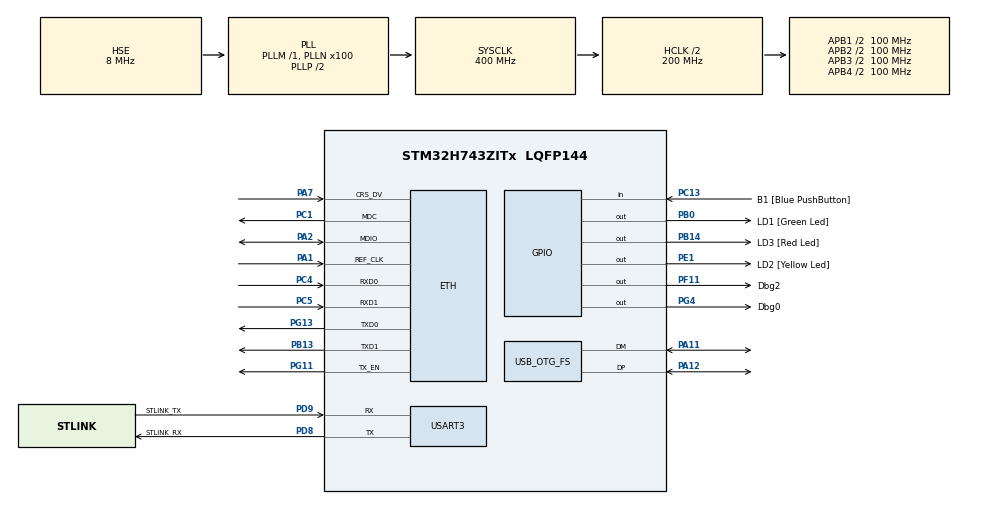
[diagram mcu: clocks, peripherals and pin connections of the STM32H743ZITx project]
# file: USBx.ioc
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ETH.MediaInterface=HAL_ETH_RMII_MODE
Mcu.Family=STM32H7
Mcu.Name=STM32H743ZITx
Mcu.Package=LQFP144
NVIC.OTG_FS_IRQn=true\:0\:0\:false\:false\:true\:false\:true\:true
NVIC.PriorityGroup=NVIC_PRIORITYGROUP_4
PA1.Mode=RMII
PA1.Signal=ETH_REF_CLK
PA11.Mode=Device_Only
PA11.Signal=USB_OTG_FS_DM
PA12.Mode=Device_Only
PA12.Signal=USB_OTG_FS_DP
PA13\ (JTMS/SWDIO).Mode=Serial_Wire
PA13\ (JTMS/SWDIO).Signal=DEBUG_JTMS-SWDIO
PA14\ (JTCK/SWCLK).Mode=Serial_Wire
PA14\ (JTCK/SWCLK).Signal=DEBUG_JTCK-SWCLK
PA2.Mode=RMII
PA2.Signal=ETH_MDIO
PA7.Mode=RMII
PA7.Signal=ETH_CRS_DV
PB0.GPIO_Label=LD1 [Green Led]
PB0.Signal=GPIO_Output
PB13.Mode=RMII
PB13.Signal=ETH_TXD1
PB14.GPIO_Label=LD3 [Red Led]
PB14.Signal=GPIO_Output
PC1.Mode=RMII
PC1.Signal=ETH_MDC
PC13.GPIO_Label=B1 [Blue PushButton]
PC13.Signal=GPIO_Input
PC14-OSC32_IN\ (OSC32_IN).Mode=LSE-External-Oscillator
PC14-OSC32_IN\ (OSC32_IN).Signal=RCC_OSC32_IN
PC15-OSC32_OUT\ (OSC32_OUT).Mode=LSE-External-Oscillator
PC15-OSC32_OUT\ (OSC32_OUT).Signal=RCC_OSC32_OUT
PC4.Mode=RMII
PC4.Signal=ETH_RXD0
PC5.Mode=RMII
PC5.Signal=ETH_RXD1
PD8.GPIO_Label=STLINK_RX
PD8.Mode=Asynchronous
PD8.Signal=USART3_TX
PD9.GPIO_Label=STLINK_TX
PD9.Mode=Asynchronous
PD9.Signal=USART3_RX
PE1.GPIO_Label=LD2 [Yellow Led]
PE1.Signal=GPIO_Output
PF11.GPIO_Label=Dbg2
PF11.GPIO_Speed=GPIO_SPEED_FREQ_HIGH
PF11.Signal=GPIO_Output
PG11.Mode=RMII
PG11.Signal=ETH_TX_EN
PG13.Mode=RMII
PG13.Signal=ETH_TXD0
PG4.GPIO_Label=Dbg0
PG4.GPIO_Speed=GPIO_SPEED_FREQ_HIGH
PG4.Signal=GPIO_Output
PH0-OSC_IN\ (PH0).Mode=HSE-External-Clock-Source
PH0-OSC_IN\ (PH0).Signal=RCC_OSC_IN
PH1-OSC_OUT\ (PH1).Signal=RCC_OSC_OUT
ProjectManager.HeapSize=0x200
ProjectManager.StackSize=0x400
ProjectManager.TargetToolchain=STM32CubeIDE
RCC.ADCFreq_Value=16125000
RCC.APB1Freq_Value=100000000
RCC.APB2Freq_Value=100000000
RCC.APB3Freq_Value=100000000
RCC.APB4Freq_Value=100000000
RCC.CortexFreq_Value=400000000
RCC.D1PPRE=RCC_APB3_DIV2
RCC.D2PPRE1=RCC_APB1_DIV2
RCC.D2PPRE2=RCC_APB2_DIV2
RCC.D3PPRE=RCC_APB4_DIV2
RCC.DIVM1=1
RCC.DIVM3=1
RCC.DIVN1=100
RCC.DIVN3=24
RCC.DIVQ1=8
RCC.DIVQ3=4
RCC.DIVR1=8
RCC.HCLKFreq_Value=200000000
RCC.HPRE=RCC_HCLK_DIV2
RCC.HSE_VALUE=8000000
RCC.PLL1_VCO_SEL=RCC_PLL1VCOWIDE
RCC.PLLFRACN=0
RCC.PWR_Regulator_Voltage_Scale=PWR_REGULATOR_VOLTAGE_SCALE0
RCC.ProductRev=revV
RCC.SYSCLKFreq_VALUE=400000000
RCC.SYSCLKSource=RCC_SYSCLKSOURCE_PLLCLK
RCC.USBCLockSelection=RCC_USBCLKSOURCE_PLL3
RCC.USBFreq_Value=48000000
USART3.VirtualMode-Asynchronous=VM_ASYNC
USB_DEVICE.CLASS_NAME_FS=CDC
USB_DEVICE.VirtualMode-CDC_FS=Cdc
USB_DEVICE.VirtualModeFS=Cdc_FS
USB_OTG_FS.VirtualMode=Device_Only
VP_USB_DEVICE_VS_USB_DEVICE_CDC_FS.Mode=CDC_FS
board=NUCLEO-H743ZI2

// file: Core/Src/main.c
/* USER CODE BEGIN Header */
/**
  ******************************************************************************
  * @file           : main.c
  * @brief          : Main program body
  ******************************************************************************
  * @attention
  *
  * Copyright (c) 2023 STMicroelectronics.
  * All rights reserved.
  *
  * This software is licensed under terms that can be found in the LICENSE file
  * in the root directory of this software component.
  * If no LICENSE file comes with this software, it is provided AS-IS.
  *
  ******************************************************************************
  */
#include "stm32h7xx_hal_def.h"
#if 0
/* USER CODE END Header */
#include "main.h"
#include "usart.h"
#include "usb_device.h"
#include "gpio.h"

/* USER CODE BEGIN Includes */
#endif

#include "main.h"

/* USER CODE END Includes */

void SystemClock_Config(void);
/* USER CODE BEGIN PFP */
void usbClock_Config(void);
/* USER CODE END PFP */

/* USER CODE BEGIN 0 */

extern void tinyMain(void);

/* USER CODE END 0 */

int main(void)
{

  /* MCU Configuration--------------------------------------------------------*/

  /* Reset of all peripherals, Initializes the Flash interface and the Systick. */
  HAL_Init();

  /* USER CODE BEGIN Init */
#if CUBE_INIT_CLK == 0
 tinyMain();
#else

  /* USER CODE END Init */

  /* Configure the system clock */
  SystemClock_Config();

  /* USER CODE BEGIN SysInit */
 usbClock_Config();

 tinyMain();
#endif
#if 0
  /* USER CODE END SysInit */

  /* Initialize all configured peripherals */
  MX_GPIO_Init();
  MX_USART3_UART_Init();
  MX_USB_DEVICE_Init();

  /* Infinite loop */
 while (1)
 {

    /* USER CODE BEGIN 3 */
 }
#endif
  /* USER CODE END 3 */
}

void SystemClock_Config(void)
{
  RCC_OscInitTypeDef RCC_OscInitStruct = {0};
  RCC_ClkInitTypeDef RCC_ClkInitStruct = {0};

  /** Supply configuration update enable
  */
  HAL_PWREx_ConfigSupply(PWR_LDO_SUPPLY);

  /** Configure the main internal regulator output voltage
  */
  __HAL_PWR_VOLTAGESCALING_CONFIG(PWR_REGULATOR_VOLTAGE_SCALE1);

  while(!__HAL_PWR_GET_FLAG(PWR_FLAG_VOSRDY)) {}

  __HAL_RCC_SYSCFG_CLK_ENABLE();
  __HAL_PWR_VOLTAGESCALING_CONFIG(PWR_REGULATOR_VOLTAGE_SCALE0);

  while(!__HAL_PWR_GET_FLAG(PWR_FLAG_VOSRDY)) {}

  /** Initializes the RCC Oscillators according to the specified parameters
  * in the RCC_OscInitTypeDef structure.
  */
  RCC_OscInitStruct.OscillatorType = RCC_OSCILLATORTYPE_HSE;
  RCC_OscInitStruct.HSEState = RCC_HSE_BYPASS;
  RCC_OscInitStruct.PLL.PLLState = RCC_PLL_ON;
  RCC_OscInitStruct.PLL.PLLSource = RCC_PLLSOURCE_HSE;
  RCC_OscInitStruct.PLL.PLLM = 1;
  RCC_OscInitStruct.PLL.PLLN = 100;
  RCC_OscInitStruct.PLL.PLLP = 2;
  RCC_OscInitStruct.PLL.PLLQ = 8;
  RCC_OscInitStruct.PLL.PLLR = 8;
  RCC_OscInitStruct.PLL.PLLRGE = RCC_PLL1VCIRANGE_3;
  RCC_OscInitStruct.PLL.PLLVCOSEL = RCC_PLL1VCOWIDE;
  RCC_OscInitStruct.PLL.PLLFRACN = 0;
  if (HAL_RCC_OscConfig(&RCC_OscInitStruct) != HAL_OK)
  {
    Error_Handler();
  }

  /** Initializes the CPU, AHB and APB buses clocks
  */
  RCC_ClkInitStruct.ClockType = RCC_CLOCKTYPE_HCLK|RCC_CLOCKTYPE_SYSCLK
                              |RCC_CLOCKTYPE_PCLK1|RCC_CLOCKTYPE_PCLK2
                              |RCC_CLOCKTYPE_D3PCLK1|RCC_CLOCKTYPE_D1PCLK1;
  RCC_ClkInitStruct.SYSCLKSource = RCC_SYSCLKSOURCE_PLLCLK;
  RCC_ClkInitStruct.SYSCLKDivider = RCC_SYSCLK_DIV1;
  RCC_ClkInitStruct.AHBCLKDivider = RCC_HCLK_DIV2;
  RCC_ClkInitStruct.APB3CLKDivider = RCC_APB3_DIV2;
  RCC_ClkInitStruct.APB1CLKDivider = RCC_APB1_DIV2;
  RCC_ClkInitStruct.APB2CLKDivider = RCC_APB2_DIV2;
  RCC_ClkInitStruct.APB4CLKDivider = RCC_APB4_DIV2;

  if (HAL_RCC_ClockConfig(&RCC_ClkInitStruct, FLASH_LATENCY_2) != HAL_OK)
  {
    Error_Handler();
  }
}

/* USER CODE BEGIN 4 */

void usbClock_Config(void)
{
 RCC_PeriphCLKInitTypeDef PeriphClkInitStruct = {0};

 PeriphClkInitStruct.PeriphClockSelection = RCC_PERIPHCLK_USB;
 PeriphClkInitStruct.PLL3.PLL3M = 1;
 PeriphClkInitStruct.PLL3.PLL3N = 24;
 PeriphClkInitStruct.PLL3.PLL3P = 2;
 PeriphClkInitStruct.PLL3.PLL3Q = 4;
 PeriphClkInitStruct.PLL3.PLL3R = 2;
 PeriphClkInitStruct.PLL3.PLL3RGE = RCC_PLL3VCIRANGE_3;
 PeriphClkInitStruct.PLL3.PLL3FRACN = 0;
 PeriphClkInitStruct.UsbClockSelection = RCC_USBCLKSOURCE_PLL3;

 if (HAL_RCCEx_PeriphCLKConfig(&PeriphClkInitStruct) != HAL_OK) {
  Error_Handler();
 }
}

//--------------------------------------------------------------------+
// RCC Clock
//--------------------------------------------------------------------+

void board_stm32h7_clock_init(void)
{
 RCC_ClkInitTypeDef RCC_ClkInitStruct = { 0 };
 RCC_OscInitTypeDef RCC_OscInitStruct = { 0 };

 /* The PWR block is always enabled on the H7 series- there is no clock
    enable. For now, use the default VOS3 scale mode (lowest) and limit clock
    frequencies to avoid potential current draw problems from bus
    power when using the max clock speeds throughout the chip. */

 /* Enable HSE Oscillator and activate PLL1 with HSE as source */
 RCC_OscInitStruct.OscillatorType = RCC_OSCILLATORTYPE_HSE;
 RCC_OscInitStruct.HSEState = RCC_HSE_BYPASS;
//  RCC_OscInitStruct.HSEState = RCC_HSE_ON;
//  RCC_OscInitStruct.HSIState = RCC_HSI_OFF;
//  RCC_OscInitStruct.CSIState = RCC_CSI_OFF;
 RCC_OscInitStruct.PLL.PLLState = RCC_PLL_ON;
 RCC_OscInitStruct.PLL.PLLSource = RCC_PLLSOURCE_HSE;
 RCC_OscInitStruct.PLL.PLLM = HSE_VALUE/1000000;
 RCC_OscInitStruct.PLL.PLLN = 336;
 RCC_OscInitStruct.PLL.PLLP = 2;
 RCC_OscInitStruct.PLL.PLLQ = 7;
 RCC_OscInitStruct.PLL.PLLR = 2; /* Unused */
 RCC_OscInitStruct.PLL.PLLRGE = RCC_PLL1VCIRANGE_0;
 RCC_OscInitStruct.PLL.PLLVCOSEL = RCC_PLL1VCOMEDIUM;
 RCC_OscInitStruct.PLL.PLLFRACN = 0;
 HAL_RCC_OscConfig(&RCC_OscInitStruct);

 RCC_ClkInitStruct.ClockType = (RCC_CLOCKTYPE_SYSCLK | RCC_CLOCKTYPE_HCLK | \
    RCC_CLOCKTYPE_D1PCLK1 | RCC_CLOCKTYPE_PCLK1 | RCC_CLOCKTYPE_PCLK2 | \
    RCC_CLOCKTYPE_D3PCLK1);
 RCC_ClkInitStruct.SYSCLKSource = RCC_SYSCLKSOURCE_PLLCLK;
 RCC_ClkInitStruct.SYSCLKDivider = RCC_SYSCLK_DIV1;
 RCC_ClkInitStruct.AHBCLKDivider = RCC_HCLK_DIV2;

 /* Unlike on the STM32F4 family, it appears the maximum APB frequencies are
    device-dependent- 120 MHz for this board according to Figure 2 of
    the datasheet. Dividing by half will be safe for now. */
 RCC_ClkInitStruct.APB3CLKDivider = RCC_APB3_DIV2;
 RCC_ClkInitStruct.APB1CLKDivider = RCC_APB1_DIV2;
 RCC_ClkInitStruct.APB2CLKDivider = RCC_APB2_DIV2;
 RCC_ClkInitStruct.APB4CLKDivider = RCC_APB4_DIV2;

 /* 4 wait states required for 168MHz and VOS3. */
 HAL_RCC_ClockConfig(&RCC_ClkInitStruct, FLASH_LATENCY_4);

 /* Like on F4, on H7, USB's actual peripheral clock and bus clock are
    separate. However, the main system PLL (PLL1) doesn't have a direct
    connection to the USB peripheral clock to generate 48 MHz, so we do this
    dance. This will connect PLL1's Q output to the USB peripheral clock. */
 RCC_PeriphCLKInitTypeDef RCC_PeriphCLKInitStruct = { 0 };

 RCC_PeriphCLKInitStruct.PeriphClockSelection = RCC_PERIPHCLK_USB;
 RCC_PeriphCLKInitStruct.UsbClockSelection = RCC_USBCLKSOURCE_PLL;
 HAL_RCCEx_PeriphCLKConfig(&RCC_PeriphCLKInitStruct);
}

/* USER CODE END 4 */

void Error_Handler(void)
{
  __disable_irq();
  while (1)
  {
  }
}
